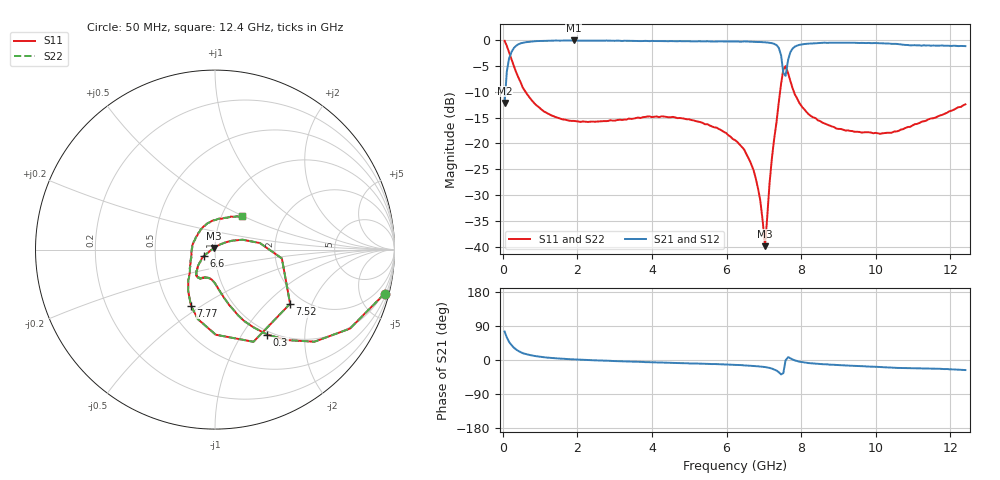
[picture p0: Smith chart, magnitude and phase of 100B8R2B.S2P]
!  American Technical Ceramics  Date:  3/13/98
!  One Norden Lane
!  Huntington Station,  NY.  11746-2102
!  Tel:  (516) 547-5700  Fax:  (516) 547-5748
!  Part Number  100b8r2b
!  Description: Porcelain, High Q, Low ESR
!  Application: Bypass, Coupling, Timing, Feedback
!  Tuning, Impedance Match, Blocking
# GHZ S DB R 50
! Freq  |S11|  S11 Ph  |S21|  S21 Ph  |S12|  S12 Ph  |S22|  S22 Ph
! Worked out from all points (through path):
!   201 points, 50 MHz to 12.4 GHz, reference 50 ohm
!   highest |S21| = -0.14 dB at 1.9 GHz (marker M1); lowest = -12.2 dB at 50 MHz (marker M2)
!   lowest |S11| = -39.8 dB at 7.03 GHz (marker M3), VSWR 1.02, Z = 49.4 + j0.831 ohm
!   |S11| at or under -10 dB: 609.1 MHz to 7.434 GHz (6.825 GHz wide, 170 % of centre); 7.802 GHz to end of sweep
!   |S22| runs from -39.8 to -0.2 dB; largest |S21 - S12| = 0
!   S11 on the Smith chart (normalised r, x): 50 MHz: 0.74, -7.74; 300 MHz: 0.95, -1.30; 6.6 GHz: 0.88, -0.06; 7.52 GHz: 1.71, -1.41; 7.77 GHz: 0.64, -0.45; 12.4 GHz: 1.25, +0.49
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0.05  -0.21 -14.6  -12.17 75.0  -12.17 75.0  -0.21 -14.6
0.11  -1.20 -30.4  -6.09 59.4  -6.09 59.4  -1.20 -30.4
0.3  -5.11 -58.5  -1.58 32.5  -1.58 32.5  -5.11 -58.5
0.54  -9.27 -73.4  -0.59 17.8  -0.59 17.8  -9.27 -73.4
0.91  -12.69 -83.5  -0.26 9.8  -0.26 9.8  -12.69 -83.5
1.9  -15.64 -98.8  -0.14 1.6  -0.14 1.6  -15.64 -98.8
2.15  -15.75 -101.9  -0.17 0.6  -0.17 0.6  -15.75 -101.9
4.19  -14.93 -121.6  -0.27 -6.5  -0.27 -6.5  -14.93 -121.6
6.23  -19.38 -139.8  -0.33 -12.9  -0.33 -12.9  -19.38 -139.8
6.6  -23.01 -150.4  -0.36 -14.9  -0.36 -14.9  -23.01 -150.4
6.9  -30.87 -165.4  -0.44 -17.2  -0.44 -17.2  -30.87 -165.4
7.03  -39.80 124.8  -0.50 -18.6  -0.50 -18.6  -39.80 124.8
7.21  -23.12 34.9  -0.66 -22.5  -0.66 -22.5  -23.12 34.9
7.4  -11.94 8.3  -1.59 -32.4  -1.59 -32.4  -11.94 8.3
7.46  -8.50 -7.5  -3.00 -38.0  -3.00 -38.0  -8.50 -7.5
7.52  -5.75 -35.8  -6.38 -34.6  -6.38 -34.6  -5.75 -35.8
7.58  -5.09 -67.3  -6.97 -1.0  -6.97 -1.0  -5.09 -67.3
7.65  -6.48 -89.5  -3.84 7.6  -3.84 7.6  -6.48 -89.5
7.77  -9.38 -113.1  -1.71 1.4  -1.71 1.4  -9.38 -113.1
8.32  -14.96 -141.3  -0.71 -9.1  -0.71 -9.1  -14.96 -141.3
10.36  -17.94 142.3  -0.74 -19.9  -0.74 -19.9  -17.94 142.3
12.4  -12.45 51.0  -1.23 -26.5  -1.23 -26.5  -12.45 51.0
